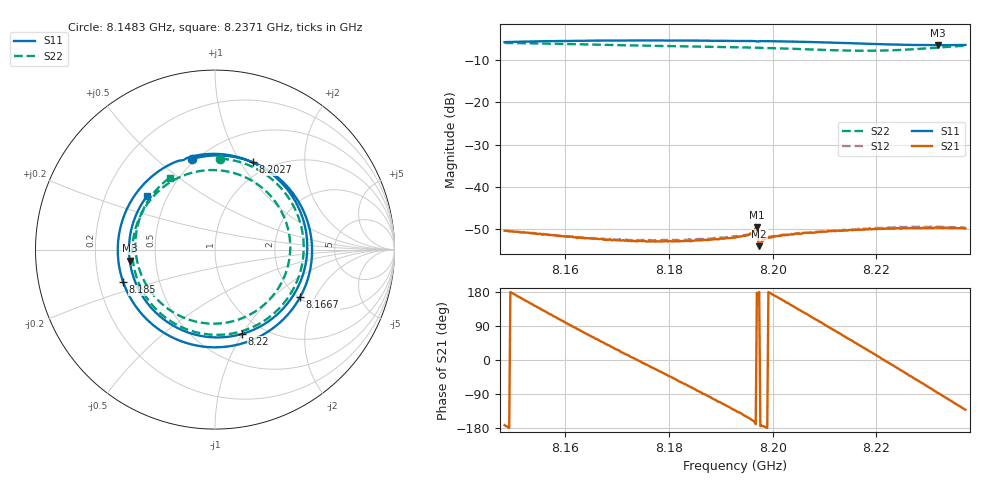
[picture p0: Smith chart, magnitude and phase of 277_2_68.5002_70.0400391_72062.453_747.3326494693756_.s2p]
#  HZ  S  RI  R  50.00
! Rohde & Schwarz Vector Network Analyzer
! Rohde-Schwarz,ZNB20-2Port,1311601062101988,3.16
! Created: UTC 3/20/2024, 5:01:00 PM
! freq[Hz]  re:S11  im:S11  re:S21  im:S21  re:S12  im:S12  re:S22  im:S22
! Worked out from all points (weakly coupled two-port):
!   401 points, 8.1483 GHz to 8.2371 GHz, reference 50 ohm
!   highest |S21| = -49.55 dB at 8.1969 GHz (marker M1); lowest = -54.1 dB at 8.1974 GHz (marker M2)
!   lowest |S11| = -6.4 dB at 8.2318 GHz (marker M3), VSWR 2.84, Z = 17.7 - j2.81 ohm
!   |S11| at or under -10 dB: nowhere
!   |S22| runs from -7.7 to -5.9 dB; largest |S21 - S12| = 0.00026
!   S11 on the Smith chart (normalised r, x): 8.1483 GHz: 0.48, +0.66; 8.1667 GHz: 2.05, -1.53; 8.185 GHz: 0.30, -0.16; 8.2027 GHz: 0.84, +1.13; 8.22 GHz: 0.81, -1.00; 8.2371 GHz: 0.39, +0.30
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8.148309e9  -0.1279 0.5049  -0.00298 -0.000418  -0.00301 -0.000391  0.0299 0.5074
8.15475e9  0.2914 0.4451  -0.00206 0.00183  -0.00205 0.00187  0.3836 0.3243
8.159191e9  0.488 0.2258  -0.000668 0.00251  -0.000691 0.0025  0.4904 0.0754
8.163189e9  0.5401 -0.0346  0.000621 0.00237  0.000619 0.00245  0.4626 -0.1619
8.166742e9  0.4753 -0.2629  0.00153 0.00184  0.00156 0.00188  0.3483 -0.3368
8.172739e9  0.1706 -0.5171  0.00225 0.000293  0.00231 0.000356  0.0366 -0.4743
8.178069e9  -0.1878 -0.5107  0.00195 -0.00109  0.00207 -0.0011  -0.2513 -0.3961
8.184953e9  -0.5115 -0.1814  0.000528 -0.00223  0.000517 -0.0023  -0.4546 -0.0816
8.188729e9  -0.5356 0.0786  -0.000551 -0.00231  -0.000618 -0.00238  -0.4402 0.1262
8.192726e9  -0.4247 0.3325  -0.00169 -0.00183  -0.0018 -0.00182  -0.3262 0.3146
8.196502e9  -0.2129 0.4913  -0.0029 -0.000844  -0.00298 -0.000737  -0.1467 0.4229
8.196946e9  -0.1813 0.4977  -0.00333 0.000158  -0.00338 0.000296  -0.1226 0.4295
8.19739e9  -0.1602 0.5086  -0.00197 1.63e-05  -0.002 9.32e-05  -0.0983 0.4351
8.20272e9  0.2097 0.4863  -0.00235 0.0013  -0.00235 0.00136  0.1961 0.3894
8.207606e9  0.4567 0.2518  -0.00108 0.00261  -0.00103 0.00267  0.385 0.1814
8.210715e9  0.5136 0.039  0.000138 0.00295  0.000222 0.00299  0.4191 -0.00109
8.213603e9  0.4815 -0.1642  0.00132 0.00272  0.0014 0.00276  0.3764 -0.173
8.220043e9  0.1522 -0.4695  0.0031 0.000662  0.0032 0.000548  0.0548 -0.4082
8.222486e9  -0.0228 -0.488  0.00313 -0.000463  0.00324 -0.000618  -0.1076 -0.4012
8.227594e9  -0.3484 -0.3319  0.00201 -0.00254  0.00199 -0.0027  -0.3818 -0.1981
8.231814e9  -0.4751 -0.0612  0.00019 -0.00328  3.71e-05 -0.00334  -0.4398 0.0865
8.237144e9  -0.3803 0.2959  -0.00211 -0.00242  -0.00233 -0.00228  -0.2517 0.4004
